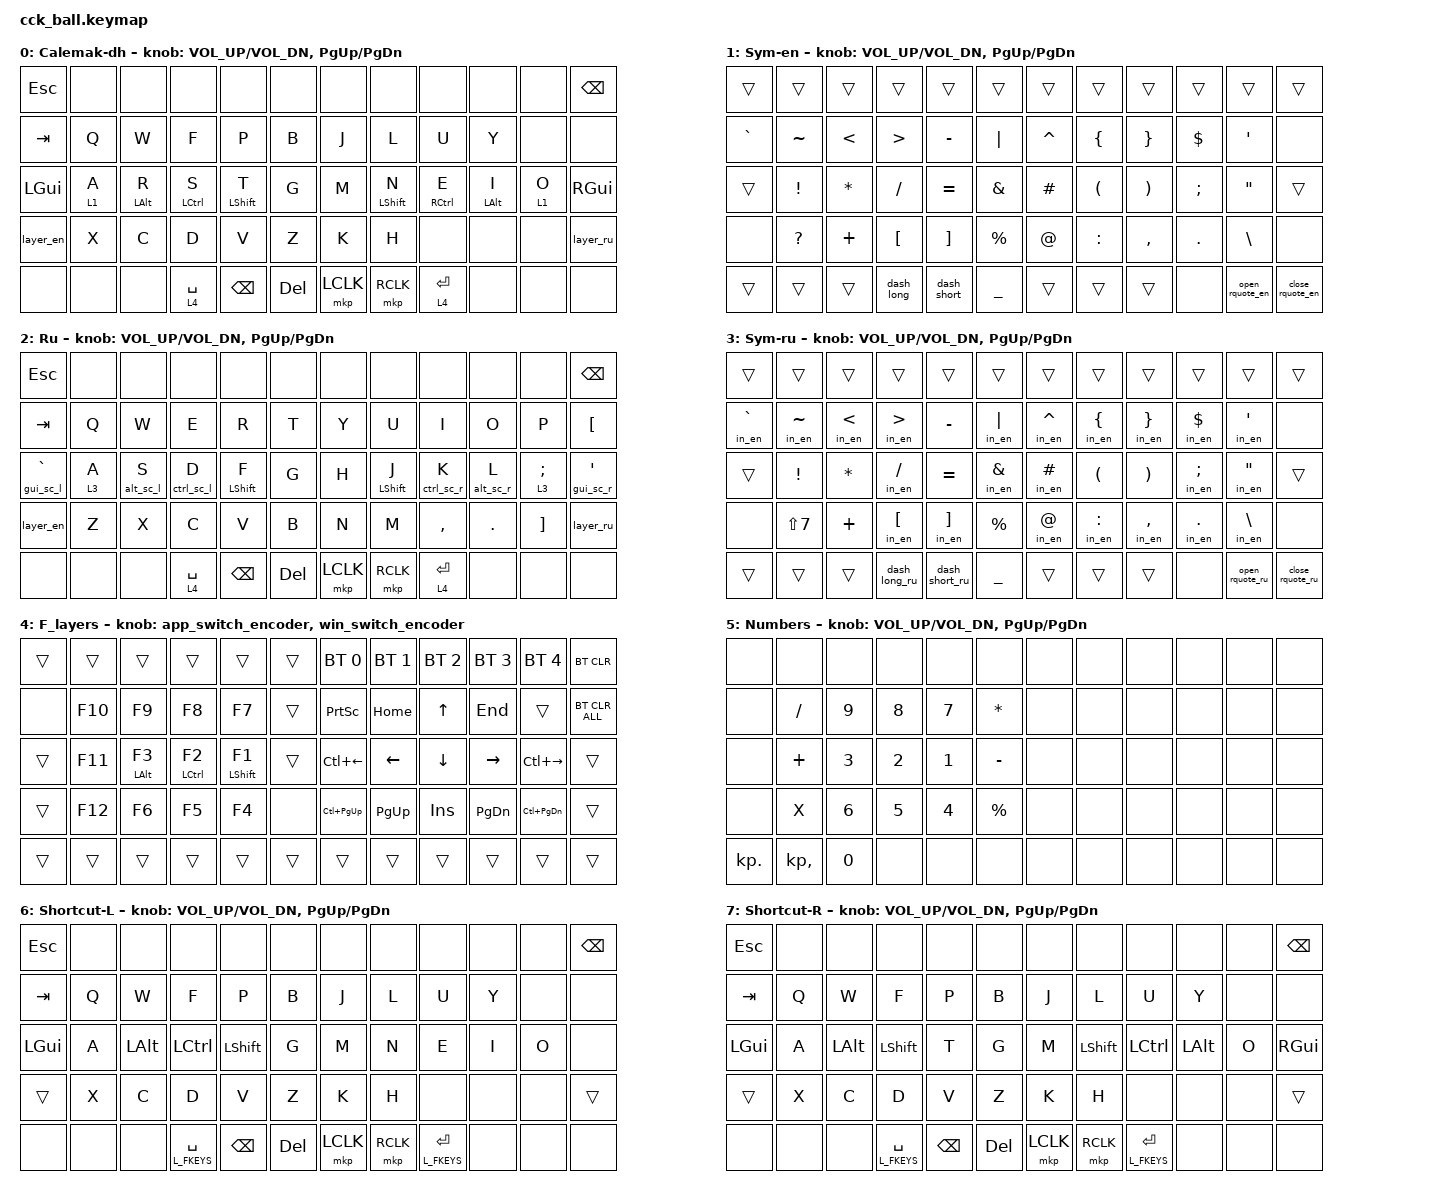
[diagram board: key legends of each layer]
#define ZMK_POINTING_DEFAULT_MOVE_VAL 1000 // 600
#define ZMK_POINTING_DEFAULT_SCRL_VAL 12   // 10

// Layer indices
#define L_EN        0
#define L_SYM_EN    1
#define L_RU        2
#define L_SYM_RU    3
#define L_FKEYS     4
#define L_NUMBERS   5
#define L_SC_L      6  // Shortcut layer, left-hand modifiers (Ctrl held on left)
#define L_SC_R      7  // Shortcut layer, right-hand modifiers (Ctrl held on right)

#include <input/processors.dtsi>
#include <zephyr/dt-bindings/input/input-event-codes.h>
#include <behaviors.dtsi>
#include <dt-bindings/zmk/bt.h>
#include <dt-bindings/zmk/keys.h>
#include <dt-bindings/zmk/pointing.h>

&mmv_input_listener { input-processors = <&zip_xy_scaler 1 1>; };

&msc_input_listener { input-processors = <&zip_scroll_scaler 2 1>; };

&msc {
    acceleration-exponent = <0>;      // 0
    time-to-max-speed-ms = <300>;       // 300
    delay-ms = <0>;                   // 0
};

&mmv {
    time-to-max-speed-ms = <500>;
    acceleration-exponent = <1>;
    trigger-period-ms = <16>;
};

&soft_off { hold-time-ms = <2000>; };

// mt = mod-tap behavior | lt = layer-tap behavior

&mt {
    tapping-term-ms = <220>;    // Increased from default 200ms — hold window before modifier activates
    flavor = "balanced";        // If another key is pressed and released on mod-alt, Prefer mod
    quick-tap-ms = <180>;       // If pressed again within 180ms, treat as tap (prevents modifier on fast re-press)
};

/ {
    // Switch applications (Alt+Tab / Alt+Shift+Tab)

    app_switch_encoder: app_switch_encoder {
        compatible = "zmk,behavior-sensor-rotate";
        #sensor-binding-cells = <0>;
        bindings = <&kp LA(TAB)>, <&kp LA(LS(TAB))>;
    };

    // Switch windows/tabs (Ctrl+Tab / Ctrl+Shift+Tab)

    win_switch_encoder: win_switch_encoder {
        compatible = "zmk,behavior-sensor-rotate";
        #sensor-binding-cells = <0>;
        bindings = <&kp LC(TAB)>, <&kp LC(LS(TAB))>;
    };

    hrm_l: hrm_l {
        compatible = "zmk,behavior-hold-tap";
        label = "HRM_L";
        bindings = <&kp>, <&kp>;

        #binding-cells = <2>;
        tapping-term-ms = <250>;
        flavor = "balanced";
        quick-tap-ms = <150>;
        require-prior-idle-ms = <175>;
        hold-trigger-on-release;
        hold-trigger-key-positions = <6 7 8 9 10 11 6 7 8 9 10 11 18 19 20 21 22 23 30 31 32 33 34 35 42 43 44 45 46 47 57 58 59>;
    };

    hrm_r: hrm_r {
        compatible = "zmk,behavior-hold-tap";
        label = "HRM_R";
        bindings = <&kp>, <&kp>;

        #binding-cells = <2>;
        tapping-term-ms = <250>;
        flavor = "balanced";
        quick-tap-ms = <150>;
        require-prior-idle-ms = <175>;
        hold-trigger-on-release;
        hold-trigger-key-positions = <0 1 2 3 4 5 12 13 14 15 16 17 24 25 26 27 28 29 36 37 38 39 40 41 48 49 50>;
    };

    // Hold: activate Shortcut-L layer + LCTRL. Tap: kp.
    // Left-hand Ctrl key — right hand presses the shortcut key.
    hmc_sc_l: hmc_sc_l {
        compatible = "zmk,behavior-hold-tap";
        label = "HMC_SC_L";
        bindings = <&ctrl_sc_l>, <&kp>;

        #binding-cells = <2>;
        tapping-term-ms = <250>;
        flavor = "balanced";
        quick-tap-ms = <150>;
        require-prior-idle-ms = <175>;
        hold-trigger-on-release;
        hold-trigger-key-positions = <6 7 8 9 10 11 18 19 20 21 22 23 30 31 32 33 34 35 42 43 44 45 46 47 57 58 59>;
    };

    // Hold: activate Shortcut-R layer + RCTRL. Tap: kp.
    // Right-hand Ctrl key — left hand presses the shortcut key.
    hmc_sc_r: hmc_sc_r {
        compatible = "zmk,behavior-hold-tap";
        label = "HMC_SC_R";
        bindings = <&ctrl_sc_r>, <&kp>;

        #binding-cells = <2>;
        tapping-term-ms = <250>;
        flavor = "balanced";
        quick-tap-ms = <150>;
        require-prior-idle-ms = <175>;
        hold-trigger-on-release;
        hold-trigger-key-positions = <0 1 2 3 4 5 12 13 14 15 16 17 24 25 26 27 28 29 36 37 38 39 40 41 48 49 50>;
    };

    // Hold: activate Shortcut-L layer + LALT. Tap: kp.
    // Left-hand Alt key — right hand presses the shortcut key.
    hma_sc_l: hma_sc_l {
        compatible = "zmk,behavior-hold-tap";
        label = "HMA_SC_L";
        bindings = <&alt_sc_l>, <&kp>;

        #binding-cells = <2>;
        tapping-term-ms = <250>;
        flavor = "balanced";
        quick-tap-ms = <150>;
        require-prior-idle-ms = <175>;
        hold-trigger-on-release;
        hold-trigger-key-positions = <6 7 8 9 10 11 18 19 20 21 22 23 30 31 32 33 34 35 42 43 44 45 46 47 57 58 59>;
    };

    // Hold: activate Shortcut-R layer + LALT. Tap: kp.
    // Right-hand Alt key — left hand presses the shortcut key.
    hma_sc_r: hma_sc_r {
        compatible = "zmk,behavior-hold-tap";
        label = "HMA_SC_R";
        bindings = <&alt_sc_r>, <&kp>;

        #binding-cells = <2>;
        tapping-term-ms = <250>;
        flavor = "balanced";
        quick-tap-ms = <150>;
        require-prior-idle-ms = <175>;
        hold-trigger-on-release;
        hold-trigger-key-positions = <0 1 2 3 4 5 12 13 14 15 16 17 24 25 26 27 28 29 36 37 38 39 40 41 48 49 50>;
    };

    // Hold: activate Shortcut-L layer + LGUI. Tap: kp.
    // Left-hand Win key — right hand presses the shortcut key.
    hmg_sc_l: hmg_sc_l {
        compatible = "zmk,behavior-hold-tap";
        label = "HMG_SC_L";
        bindings = <&gui_sc_l>, <&kp>;

        #binding-cells = <2>;
        tapping-term-ms = <250>;
        flavor = "balanced";
        quick-tap-ms = <150>;
        require-prior-idle-ms = <175>;
        hold-trigger-on-release;
        hold-trigger-key-positions = <6 7 8 9 10 11 18 19 20 21 22 23 30 31 32 33 34 35 42 43 44 45 46 47 57 58 59>;
    };

    // Hold: activate Shortcut-R layer + LGUI. Tap: kp.
    // Right-hand Win key — left hand presses the shortcut key.
    hmg_sc_r: hmg_sc_r {
        compatible = "zmk,behavior-hold-tap";
        label = "HMG_SC_R";
        bindings = <&gui_sc_r>, <&kp>;

        #binding-cells = <2>;
        tapping-term-ms = <250>;
        flavor = "balanced";
        quick-tap-ms = <150>;
        require-prior-idle-ms = <175>;
        hold-trigger-on-release;
        hold-trigger-key-positions = <0 1 2 3 4 5 12 13 14 15 16 17 24 25 26 27 28 29 36 37 38 39 40 41 48 49 50>;
    };

    behaviors {
    };

    macros {
        // Activate Shortcut-L layer + hold LCTRL.
        // For left-hand Ctrl: right hand presses the shortcut key.
        // Other left-hand fingers can add Shift/Alt/Win (plain kp on the layer).
        ctrl_sc_l: ctrl_sc_l {
            compatible = "zmk,behavior-macro-one-param";
            wait-ms = <0>;
            tap-ms = <0>;
            #binding-cells = <1>;
            bindings
                = <&macro_press &mo L_SC_L &kp LCTRL>
                , <&macro_pause_for_release>
                , <&macro_release &mo L_SC_L &kp LCTRL>
                ;
            label = "CTRL_SC_L";
        };

        // Activate Shortcut-R layer + hold RCTRL.
        // For right-hand Ctrl: left hand presses the shortcut key.
        // Other right-hand fingers can add Shift/Alt/Win (plain kp on the layer).
        ctrl_sc_r: ctrl_sc_r {
            compatible = "zmk,behavior-macro-one-param";
            wait-ms = <0>;
            tap-ms = <0>;
            #binding-cells = <1>;
            bindings
                = <&macro_press &mo L_SC_R &kp RCTRL>
                , <&macro_pause_for_release>
                , <&macro_release &mo L_SC_R &kp RCTRL>
                ;
            label = "CTRL_SC_R";
        };

        // Activate Shortcut-L layer + hold LALT.
        // For left-hand Alt: right hand presses the shortcut key.
        alt_sc_l: alt_sc_l {
            compatible = "zmk,behavior-macro-one-param";
            wait-ms = <0>;
            tap-ms = <0>;
            #binding-cells = <1>;
            bindings
                = <&macro_press &mo L_SC_L &kp LALT>
                , <&macro_pause_for_release>
                , <&macro_release &mo L_SC_L &kp LALT>
                ;
            label = "ALT_SC_L";
        };

        // Activate Shortcut-R layer + hold LALT.
        // For right-hand Alt: left hand presses the shortcut key.
        alt_sc_r: alt_sc_r {
            compatible = "zmk,behavior-macro-one-param";
            wait-ms = <0>;
            tap-ms = <0>;
            #binding-cells = <1>;
            bindings
                = <&macro_press &mo L_SC_R &kp LALT>
                , <&macro_pause_for_release>
                , <&macro_release &mo L_SC_R &kp LALT>
                ;
            label = "ALT_SC_R";
        };

        // Activate Shortcut-L layer + hold LGUI.
        // For left-hand Win: right hand presses the shortcut key.
        gui_sc_l: gui_sc_l {
            compatible = "zmk,behavior-macro-one-param";
            wait-ms = <0>;
            tap-ms = <0>;
            #binding-cells = <1>;
            bindings
                = <&macro_press &mo L_SC_L &kp LGUI>
                , <&macro_pause_for_release>
                , <&macro_release &mo L_SC_L &kp LGUI>
                ;
            label = "GUI_SC_L";
        };

        // Activate Shortcut-R layer + hold LGUI.
        // For right-hand Win: left hand presses the shortcut key.
        gui_sc_r: gui_sc_r {
            compatible = "zmk,behavior-macro-one-param";
            wait-ms = <0>;
            tap-ms = <0>;
            #binding-cells = <1>;
            bindings
                = <&macro_press &mo L_SC_R &kp LGUI>
                , <&macro_pause_for_release>
                , <&macro_release &mo L_SC_R &kp LGUI>
                ;
            label = "GUI_SC_R";
        };

        // Layer + modifier macro (analogous to QMK's LM()).
        // While this key is held: specified layer is active + modifier is pressed.
        // On release: both are released, previous layer stack is restored.
        // Usage: &lm <layer> <modifier>
        // Example: &lm 0 LCTRL — activate En layer with LCTRL held.
        lm: lm {
            compatible = "zmk,behavior-macro-two-param";
            wait-ms = <0>;
            tap-ms = <0>;
            #binding-cells = <2>;
            bindings
                = <&macro_param_1to1>
                , <&macro_press &mo MACRO_PLACEHOLDER>
                , <&macro_param_2to1>
                , <&macro_press &kp MACRO_PLACEHOLDER>
                , <&macro_pause_for_release>
                , <&macro_param_2to1>
                , <&macro_release &kp MACRO_PLACEHOLDER>
                , <&macro_param_1to1>
                , <&macro_release &mo MACRO_PLACEHOLDER>
                ;
            label = "LM";
        };

        dash_long: dash_long {
            compatible = "zmk,behavior-macro";
            #binding-cells = <0>;
            bindings = <&kp RIGHT_ALT &kp MINUS &kp MINUS &kp MINUS>;
            label = "DASH_LONG";
        };

        dash_short: dash_short {
            compatible = "zmk,behavior-macro";
            #binding-cells = <0>;
            bindings = <&kp RIGHT_ALT &kp MINUS &kp MINUS &kp PERIOD>;
            label = "DASH_SHORT";
        };

        dash_long_ru: dash_long_ru {
            compatible = "zmk,behavior-macro";
            #binding-cells = <0>;
            bindings = <&to_en &kp RIGHT_ALT &kp MINUS &kp MINUS &kp MINUS &to_ru>;
            label = "DASH_LONG_RU";
        };

        dash_short_ru: dash_short_ru {
            compatible = "zmk,behavior-macro";
            #binding-cells = <0>;
            bindings = <&to_en &kp RIGHT_ALT &kp MINUS &kp MINUS &kp PERIOD &to_ru>;
            label = "DASH_SHORT_RU";
        };

        open_rquote_en: open_rquote {
            compatible = "zmk,behavior-macro";
            #binding-cells = <0>;
            bindings = <&kp RALT &kp LESS_THAN &kp LESS_THAN>;
            label = "OPEN_RQUOTE";
        };

        close_rquote_en: close_rquote {
            compatible = "zmk,behavior-macro";
            #binding-cells = <0>;
            bindings = <&kp RALT &kp GREATER_THAN &kp GREATER_THAN>;
            label = "CLOSE_RQUOTE";
        };

        open_rquote_ru: open_rquote_ru {
            compatible = "zmk,behavior-macro";
            #binding-cells = <0>;
            bindings = <&to_en &kp RALT &kp LESS_THAN &kp LESS_THAN &to_ru>;
            label = "OPEN_RQUOTE_RU";
        };

        close_rquote_ru: close_rquote_ru {
            compatible = "zmk,behavior-macro";
            #binding-cells = <0>;
            bindings = <&to_en &kp RALT &kp GREATER_THAN &kp GREATER_THAN &to_ru>;
            label = "CLOSE_RQUOTE_RU";
        };

        layer_en: layer_un {
            compatible = "zmk,behavior-macro";
            #binding-cells = <0>;
            bindings = <&to 0 &to_en>;
            label = "LAYER_UN";
        };

        layer_ru: layer_ru {
            compatible = "zmk,behavior-macro";
            #binding-cells = <0>;
            bindings = <&to 2 &kp LS(LC(NUMBER_2))>;
            label = "LAYER_RU";
        };

        in_en: in_en {
            compatible = "zmk,behavior-macro-one-param";
            #binding-cells = <1>;
            bindings =
                <&to_en>,
                <&macro_press>,
                <&macro_param_1to1 &kp MACRO_PLACEHOLDER>,
                <&macro_pause_for_release>,
                <&macro_release>,
                <&macro_param_1to1 &kp MACRO_PLACEHOLDER>,
                <&macro_tap>,
                <&to_ru>;

            label = "IN_EN";
        };

        to_en: to_en {
            compatible = "zmk,behavior-macro";
            #binding-cells = <0>;
            bindings = <&kp LS(LC(NUMBER_1))>;
            label = "TO_EN";
        };

        to_ru: to_ru {
            compatible = "zmk,behavior-macro";
            #binding-cells = <0>;
            bindings = <&kp LS(LC(NUMBER_2))>;
            label = "TO_RU";
        };
    };

    combos {
        compatible = "zmk,combos";

        // K+H (En) / N+M (Ru) — positions 42+43 — activate Numbers layer
        combo_numbers {
            timeout-ms = <50>;
            key-positions = <42 43>;
            bindings = <&mo 5>;
            layers = <0 2 4>;
        };
    };

    keymap {
        compatible = "zmk,keymap";

        En {
            bindings = <
&kp ESC         &none    &none          &none           &none                &none       &none      &none           &none           &none          &none    &kp BACKSPACE
&kp TAB         &kp Q    &kp W          &kp F           &kp P                &kp B       &kp J      &kp L           &kp U           &kp Y          &none    &none
&kp LGUI          &lt 1 A  &hrm_l LALT R  &hrm_l LCTRL S  &hrm_l LEFT_SHIFT T  &kp G       &kp M      &hrm_r LSHFT N  &hrm_r RCTRL E  &hrm_r LALT I  &lt 1 O  &kp RGUI
&layer_en       &kp X    &kp C          &kp D           &kp V                &kp Z       &kp K      &kp H           &none           &none          &none    &layer_ru
&none           &none    &none          &lt 4 SPACE     &kp BACKSPACE        &kp DELETE  &mkp LCLK  &mkp RCLK       &lt 4 ENTER     &none          &none    &none
            >;

            sensor-bindings =
                <&inc_dec_kp C_VOL_UP C_VOL_DN>,
                <&inc_dec_kp PG_UP PG_DN>;

            label = "Calemak-dh";
        };

        Sym-en {
            bindings = <
&trans     &trans           &trans         &trans            &trans             &trans         &trans       &trans                &trans                 &trans         &trans             &trans
&kp GRAVE  &kp TILDE        &kp LESS_THAN  &kp GREATER_THAN  &kp MINUS          &kp PIPE       &kp CARET    &kp LEFT_BRACE        &kp RIGHT_BRACE        &kp DOLLAR     &kp SINGLE_QUOTE   &none
&trans     &kp EXCLAMATION  &kp ASTERISK   &kp SLASH         &kp EQUAL          &kp AMPERSAND  &kp HASH     &kp LEFT_PARENTHESIS  &kp RIGHT_PARENTHESIS  &kp SEMICOLON  &kp DOUBLE_QUOTES  &trans
&none      &kp QUESTION     &kp PLUS       &kp LEFT_BRACKET  &kp RIGHT_BRACKET  &kp PERCENT    &kp AT_SIGN  &kp COLON             &kp COMMA              &kp PERIOD     &kp BACKSLASH      &none
&trans     &trans           &trans         &dash_long        &dash_short        &kp UNDERSCORE  &trans       &trans                &trans                 &none          &open_rquote_en    &close_rquote_en
            >;

            sensor-bindings =
                <&inc_dec_kp C_VOL_UP C_VOL_DN>,
                <&inc_dec_kp PG_UP PG_DN>;
        };

        Ru {
            bindings = <
&kp ESC    &none    &none              &none           &none                &none       &none   &none            &none           &none              &none              &kp BACKSPACE
&kp TAB    &kp Q    &kp W              &kp E           &kp R                &kp T       &kp Y   &kp U            &kp I           &kp O              &kp P              &kp LBKT
&hmg_sc_l 0 GRAVE  &lt 3 A  &hma_sc_l 0 S  &hmc_sc_l 0 D  &hrm_l LEFT_SHIFT F  &kp G       &kp H   &hrm_r LSHIFT J  &hmc_sc_r 0 K  &hma_sc_r 0 L  &lt 3 SEMICOLON    &hmg_sc_r 0 APOS
&layer_en  &kp Z    &kp X              &kp C           &kp V                &kp B       &kp N   &kp M            &kp COMMA       &kp DOT            &kp RIGHT_BRACKET  &layer_ru
&none      &none    &none              &lt 4 SPACE     &kp BACKSPACE        &kp DELETE  &mkp LCLK  &mkp RCLK           &lt 4 ENTER     &none              &none              &none
            >;

            sensor-bindings =
                <&inc_dec_kp C_VOL_UP C_VOL_DN>,
                <&inc_dec_kp PG_UP PG_DN>;
        };

        Sym-ru {
            bindings = <
&trans        &trans           &trans            &trans               &trans                &trans            &trans          &trans                &trans                 &trans            &trans               &trans
&in_en GRAVE  &in_en TILDE     &in_en LESS_THAN  &in_en GREATER_THAN  &kp MINUS             &in_en PIPE       &in_en CARET    &in_en LEFT_BRACE     &in_en RIGHT_BRACE     &in_en DOLLAR     &in_en SINGLE_QUOTE  &none
&trans        &kp EXCLAMATION  &kp ASTERISK      &in_en SLASH         &kp EQUAL             &in_en AMPERSAND  &in_en HASH     &kp LEFT_PARENTHESIS  &kp RIGHT_PARENTHESIS  &in_en SEMICOLON  &in_en DOUBLE_QUOTES  &trans
&none         &kp LS(N7)       &kp PLUS          &in_en LEFT_BRACKET  &in_en RIGHT_BRACKET  &kp PERCENT       &in_en AT_SIGN  &in_en COLON          &in_en COMMA           &in_en PERIOD     &in_en BACKSLASH     &none
&trans        &trans           &trans            &dash_long_ru        &dash_short_ru        &kp UNDERSCORE  &trans          &trans                &trans                 &none             &open_rquote_ru      &close_rquote_ru
            >;

            sensor-bindings =
                <&inc_dec_kp C_VOL_UP C_VOL_DN>,
                <&inc_dec_kp PG_UP PG_DN>;
        };

        F_layers {
            bindings = <
&trans  &trans  &trans  &trans  &trans  &trans  &bt BT_SEL 0  &bt BT_SEL 1  &bt BT_SEL 2  &bt BT_SEL 3  &bt BT_SEL 4  &bt BT_CLR
&none   &kp F10       &kp F9        &kp F8        &kp F7        &trans        &kp PSCRN      &kp HOME      &kp UP     &kp END    &trans         &bt BT_CLR_ALL
&trans  &kp F11  &hrm_l LALT F3  &hrm_l LCTRL F2  &hrm_l LEFT_SHIFT F1  &trans  &kp LC(LEFT)   &kp LEFT      &kp DOWN   &kp RIGHT  &kp LC(RIGHT)  &trans
&trans  &kp F12  &kp F6  &kp F5  &kp F4  &none   &kp LC(PG_UP)  &kp PG_UP     &kp INS    &kp PG_DN  &kp LC(PG_DN)  &trans
&trans  &trans   &trans  &trans  &trans  &trans  &trans         &trans        &trans     &trans     &trans         &trans
            >;

            sensor-bindings = <&app_switch_encoder &win_switch_encoder>;
        };

        Numbers {
            bindings = <
&none       &none         &none   &none   &none   &none         &none  &none  &none  &none  &none  &none
&none       &kp SLASH     &kp N9  &kp N8  &kp N7  &kp ASTERISK  &none  &none  &none  &none  &none  &none
&none       &kp PLUS      &kp N3  &kp N2  &kp N1  &kp MINUS     &none  &none  &none  &none  &none  &none
&none       &kp X         &kp N6  &kp N5  &kp N4  &kp PERCENT   &none  &none  &none  &none  &none  &none
&kp KP_DOT  &kp KP_COMMA  &kp N0  &none   &none   &none         &none         &none         &none         &none         &none         &none
            >;

            sensor-bindings = <&inc_dec_kp C_VOL_UP C_VOL_DN &inc_dec_kp PG_UP PG_DN>;
        };

        // Shortcut-L: activated when left-hand Ctrl is held (via ctrl_sc_l macro).
        // Left half has plain modifier kp (LGUI, LALT, LCTRL, LSHIFT) so other left-hand
        // fingers can build multi-modifier combos. Right half has plain English keys.
        Shortcut_L {
            bindings = <
&kp ESC      &none         &none         &none         &none         &none        &none      &none      &none      &none      &none      &kp BACKSPACE
&kp TAB      &kp Q         &kp W         &kp F         &kp P         &kp B        &kp J      &kp L      &kp U      &kp Y      &none      &none
&kp LGUI     &kp A         &kp LALT      &kp LCTRL     &kp LSHIFT    &kp G        &kp M      &kp N      &kp E      &kp I      &kp O      &none
&trans       &kp X         &kp C         &kp D         &kp V         &kp Z        &kp K      &kp H      &none      &none      &none      &trans
&none        &none         &none         &lt L_FKEYS SPACE  &kp BACKSPACE  &kp DELETE  &mkp LCLK  &mkp RCLK  &lt L_FKEYS ENTER  &none  &none  &none
            >;

            sensor-bindings =
                <&inc_dec_kp C_VOL_UP C_VOL_DN>,
                <&inc_dec_kp PG_UP PG_DN>;

            label = "Shortcut-L";
        };

        // Shortcut-R: activated when right-hand Ctrl is held (via ctrl_sc_r macro).
        // Right half has plain modifier kp (LGUI, LALT, LCTRL, LSHIFT) so other right-hand
        // fingers can build multi-modifier combos. Left half has plain English keys.
        Shortcut_R {
            bindings = <
&kp ESC      &none         &none         &none         &none         &none        &none      &none      &none      &none      &none      &kp BACKSPACE
&kp TAB      &kp Q         &kp W         &kp F         &kp P         &kp B        &kp J      &kp L      &kp U      &kp Y      &none      &none
&kp LGUI     &kp A         &kp LALT      &kp LSHIFT    &kp T         &kp G        &kp M      &kp LSHIFT  &kp LCTRL  &kp LALT   &kp O      &kp RGUI
&trans       &kp X         &kp C         &kp D         &kp V         &kp Z        &kp K      &kp H      &none      &none      &none      &trans
&none        &none         &none         &lt L_FKEYS SPACE  &kp BACKSPACE  &kp DELETE  &mkp LCLK  &mkp RCLK  &lt L_FKEYS ENTER  &none  &none  &none
            >;

            sensor-bindings =
                <&inc_dec_kp C_VOL_UP C_VOL_DN>,
                <&inc_dec_kp PG_UP PG_DN>;

            label = "Shortcut-R";
        };
    };
};
